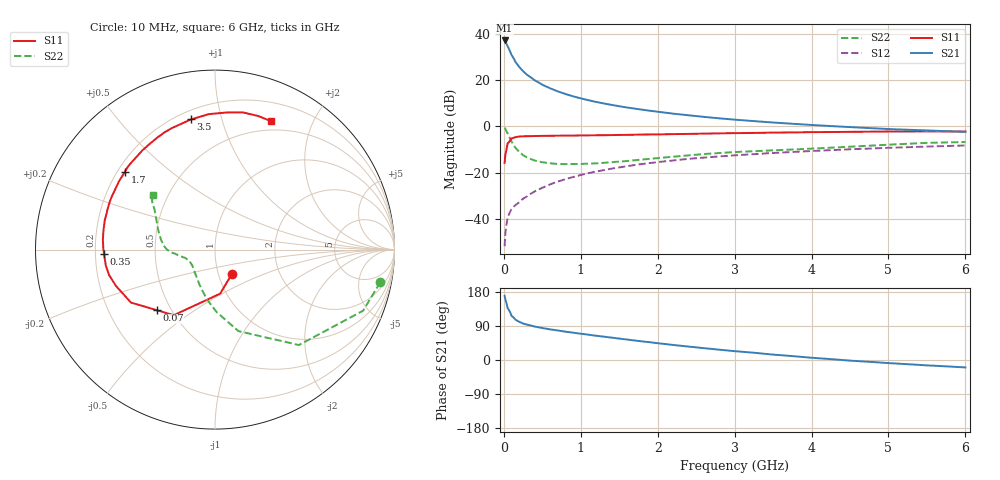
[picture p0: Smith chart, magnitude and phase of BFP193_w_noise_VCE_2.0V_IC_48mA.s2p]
! Infineon Technologies  Discrete & RF Semiconductors
! BFP193
! VCE =  2.0 V,  IC =  48 mA
! Common Emitter S-Parameters:  Jan 2017
# GHz  S  MA  R  50
!  f  S11  S21  S12  S22
! GHz  MAG  ANG  MAG  ANG  MAG  ANG  MAG  ANG
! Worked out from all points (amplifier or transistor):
!   77 points, 10 MHz to 6 GHz, reference 50 ohm
!   highest |S21| = 37.2 dB at 10 MHz (marker M1)
!   |S21| within 3 dB of that: start of sweep to 57.4 MHz
!   unconditionally stable (mu >= 1): 492.9 MHz to 2.513 GHz
!   at 130 MHz: K = 0.64, MSG = 31.9 dB, |S12| = -34.6 dB
!   at 2.2 GHz: K = 1.01, MAG = 9.4 dB, |S12| = -14.7 dB
!   at 6 GHz: K = 0.95, MSG = 2.9 dB, |S12| = -8.2 dB
!   lowest NFmin = 1.49 dB at 450 MHz
!   S11 on the Smith chart (normalised r, x): 10 MHz: 1.16, -0.32; 70 MHz: 0.42, -0.36; 350 MHz: 0.24, -0.02; 1.7 GHz: 0.23, +0.35; 3.5 GHz: 0.25, +0.80; 6 GHz: 0.40, +1.46
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0.01  0.1641 -54.3  72.12 169.4  0.0026 85.8  0.9385 -11.2
0.02  0.247 -83.3  69.77 159.6  0.0049 81.7  0.8927 -22.4
0.05  0.4315 -122.1  54.16 136.5  0.0108 61.8  0.7079 -48.7
0.07  0.4684 -133.9  45.99 130.5  0.013 59.9  0.6009 -56.4
0.1  0.5536 -147.8  35.22 116.5  0.0164 58.0  0.4722 -74.0
0.15  0.5875 -159.8  25.08 106.7  0.02 58.8  0.3484 -88.5
0.2  0.6066 -166.4  19.32 100.7  0.0231 62.0  0.2822 -98.9
0.25  0.6145 -171.5  15.64 96.3  0.0276 62.5  0.2407 -106.8
0.3  0.6163 -175.0  13.12 93.3  0.0309 64.9  0.2139 -113.8
0.35  0.6186 -177.8  11.53 91.1  0.0352 65.9  0.1982 -118.5
0.4  0.6223 179.5  9.962 88.2  0.0395 66.7  0.184 -124.0
0.5  0.6271 175.0  7.99 84.3  0.0474 68.1  0.1688 -132.1
0.6  0.6296 171.2  6.696 80.9  0.0561 67.6  0.1608 -138.8
0.8  0.6359 164.8  5.039 74.8  0.0726 67.9  0.1538 -147.7
1.1  0.6439 155.7  3.692 66.8  0.0985 65.4  0.1574 -156.8
1.7  0.6636 139.2  2.431 51.5  0.147 58.4  0.1865 -167.4
2.1  0.6791 128.9  1.986 42.1  0.1771 53.1  0.2147 -172.6
3.1  0.7209 107.6  1.365 21.7  0.244 39.7  0.2848 175.6
3.5  0.7377 100.4  1.218 14.2  0.2677 35.1  0.3053 169.9
4.1  0.7567 91.1  1.056 4.5  0.3003 27.6  0.3385 159.8
5.1  0.7797 77.3  0.868 -9.3  0.3504 16.0  0.4116 145.6
6  0.7805 66.3  0.765 -19.6  0.3894 5.9  0.4626 138.7
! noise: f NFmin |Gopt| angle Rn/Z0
0.45  1.49  0.42  -171  0.08
0.9  1.54  0.44  -164  0.08
1.9  2.17  0.61  -132  0.22
2.4  2.5  0.64  -119  0.47
